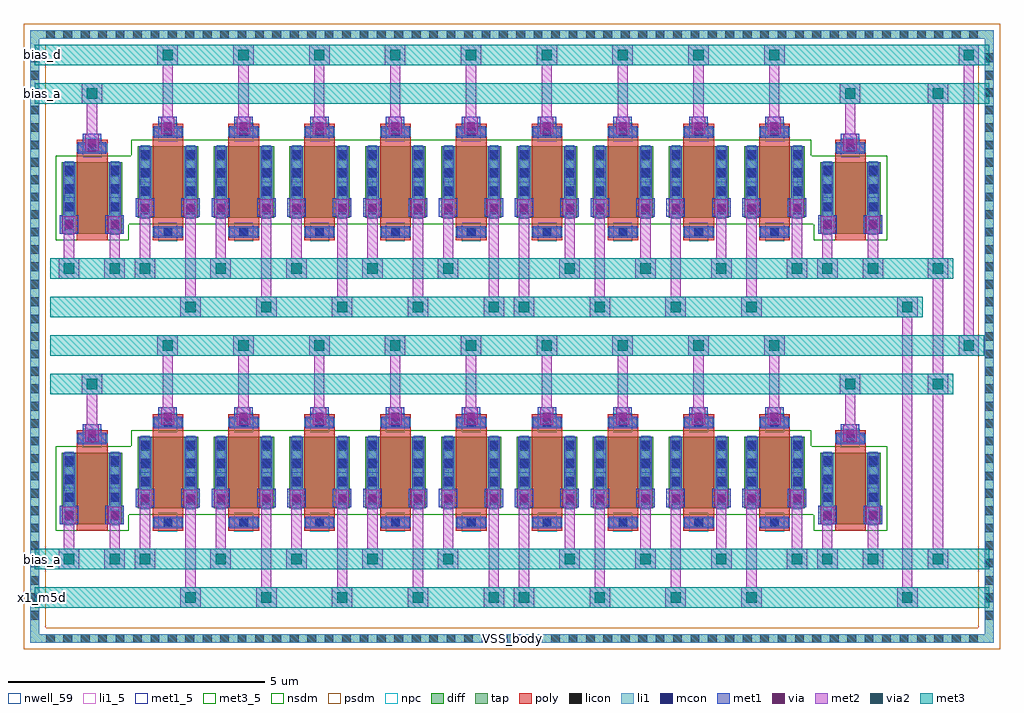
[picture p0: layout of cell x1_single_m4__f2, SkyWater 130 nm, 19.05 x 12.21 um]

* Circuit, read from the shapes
.subckt x1_single_m4__f2 VSS_body bias_a bias_d x1_m5d
XM1 bias_a bias_a bias_a VSS_body sky130_fd_pr__nfet_01v8 w=1.4 l=0.6 m=4
XM2 x1_m5d bias_d bias_a VSS_body sky130_fd_pr__nfet_01v8 w=1.4 l=0.6 m=18
.ends

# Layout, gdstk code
from math import pi, radians
import gdstk
lib = gdstk.Library(unit=1e-6, precision=1e-09)
def R(c, l, rs):  # rectangles x0, y0, x1, y1
    for r in rs: c.add(gdstk.rectangle(r[:2], r[2:], *l))
def A(c, l, x, y, w, h, nx, ny, dx, dy):  # array of equal rectangles
    R(c, l, [(x+i*dx, y+j*dy, x+i*dx+w, y+j*dy+h) for i in range(nx) for j in range(ny)])
nwell_59 = (64, 59)
diff = (65, 20)
tap = (65, 44)
poly = (66, 20)
licon = (66, 44)
li1_5 = (67, 5)
li1 = (67, 20)
mcon = (67, 44)
met1_5 = (68, 5)
met1 = (68, 20)
via = (68, 44)
met2 = (69, 20)
via2 = (69, 44)
met3_5 = (70, 5)
met3 = (70, 20)
nsdm = (93, 44)
psdm = (94, 20)
npc = (95, 20)

sky130_fd_pr__nfet_01v8_ = lib.new_cell('sky130_fd_pr__nfet_01v8_RUA5M6')
R(sky130_fd_pr__nfet_01v8_, diff, [(-0.59,-0.855,0.59,0.545)])
R(sky130_fd_pr__nfet_01v8_, poly, [(-0.3,-0.985,0.3,0.985)])
A(sky130_fd_pr__nfet_01v8_, licon, -0.53, -0.75, 0.17, 0.17, 1, 4, 0, 0.34)
A(sky130_fd_pr__nfet_01v8_, licon, 0.36, -0.75, 0.17, 0.17, 1, 4, 0, 0.34)
R(sky130_fd_pr__nfet_01v8_, licon, [(-0.085,0.735,0.085,0.905)])
R(sky130_fd_pr__nfet_01v8_, li1, [(-0.53,-0.875,-0.36,0.565), (0.36,-0.875,0.53,0.565), (-0.3,0.735,0.3,0.905)])
A(sky130_fd_pr__nfet_01v8_, mcon, -0.53, -0.78, 0.17, 0.17, 1, 4, 0, 0.36)
A(sky130_fd_pr__nfet_01v8_, mcon, 0.36, -0.78, 0.17, 0.17, 1, 4, 0, 0.36)
R(sky130_fd_pr__nfet_01v8_, mcon, [(-0.085,0.735,0.085,0.905)])
R(sky130_fd_pr__nfet_01v8_, met1, [(-0.56,-0.855,-0.33,0.545), (0.33,-0.855,0.56,0.545), (-0.28,0.705,0.28,0.935)])
R(sky130_fd_pr__nfet_01v8_, nsdm, [(-0.715,-0.98,0.715,0.67)])
R(sky130_fd_pr__nfet_01v8_, npc, [(-0.185,0.635,0.185,1.005)])
sky130_fd_pr__nfet_01v8_.add(gdstk.Label('D', (-0.445,-0.155), layer=67, texttype=5))
sky130_fd_pr__nfet_01v8_.add(gdstk.Label('S', (0.445,-0.155), layer=67, texttype=5))
sky130_fd_pr__nfet_01v8_.add(gdstk.Label('G', (0,0.82), layer=67, texttype=5))

nfet_01v8_w1p4_l0p6_m4__ = lib.new_cell('nfet_01v8_W1p4_L0p6_m4__nf1_gtop_sdfull_ng')
R(nfet_01v8_w1p4_l0p6_m4__, nwell_59, [(0.05,0.78,0.15,0.88)])
R(nfet_01v8_w1p4_l0p6_m4__, met1_5, [(0.03,0.83,0.26,1.03), (0.92,0.83,1.15,1.03), (0.31,1.69,0.87,1.92)])
R(nfet_01v8_w1p4_l0p6_m4__, met1, [(0.03,0.83,0.26,1.03), (0.92,0.83,1.15,1.03), (0.31,1.69,0.87,1.92)])
nfet_01v8_w1p4_l0p6_m4__.add(gdstk.Reference(sky130_fd_pr__nfet_01v8_, (0.59,0.985)))
nfet_01v8_w1p4_l0p6_m4__.add(gdstk.Label('D', (0.145,0.93), layer=68, texttype=5))
nfet_01v8_w1p4_l0p6_m4__.add(gdstk.Label('S', (1.035,0.93), layer=68, texttype=5))
nfet_01v8_w1p4_l0p6_m4__.add(gdstk.Label('G', (0.59,1.805), layer=68, texttype=5))
nfet_01v8_w1p4_l0p6_m4__.add(gdstk.Label('B', (0.1,0.83), layer=64, texttype=59))

c_sky130_fd_pr__nfet_01v8_ = lib.new_cell('sky130_fd_pr__nfet_01v8_KCM6UP')
R(c_sky130_fd_pr__nfet_01v8_, diff, [(-0.59,-0.7,0.59,0.7)])
R(c_sky130_fd_pr__nfet_01v8_, poly, [(-0.3,-1.14,0.3,1.14)])
A(c_sky130_fd_pr__nfet_01v8_, licon, -0.53, -0.595, 0.17, 0.17, 1, 4, 0, 0.34)
A(c_sky130_fd_pr__nfet_01v8_, licon, 0.36, -0.595, 0.17, 0.17, 1, 4, 0, 0.34)
R(c_sky130_fd_pr__nfet_01v8_, licon, [(-0.085,-1.06,0.085,-0.89), (-0.085,0.89,0.085,1.06)])
R(c_sky130_fd_pr__nfet_01v8_, li1, [(-0.3,-1.06,0.3,-0.89), (-0.53,-0.72,-0.36,0.72), (0.36,-0.72,0.53,0.72), (-0.3,0.89,0.3,1.06)])
A(c_sky130_fd_pr__nfet_01v8_, mcon, -0.53, -0.625, 0.17, 0.17, 1, 4, 0, 0.36)
A(c_sky130_fd_pr__nfet_01v8_, mcon, 0.36, -0.625, 0.17, 0.17, 1, 4, 0, 0.36)
R(c_sky130_fd_pr__nfet_01v8_, mcon, [(-0.085,-1.06,0.085,-0.89), (-0.085,0.89,0.085,1.06)])
R(c_sky130_fd_pr__nfet_01v8_, met1, [(-0.28,-1.09,0.28,-0.86), (-0.56,-0.7,-0.33,0.7), (0.33,-0.7,0.56,0.7), (-0.28,0.86,0.28,1.09)])
R(c_sky130_fd_pr__nfet_01v8_, nsdm, [(-0.715,-0.825,0.715,0.825)])
R(c_sky130_fd_pr__nfet_01v8_, npc, [(-0.185,-1.16,0.185,-0.79), (-0.185,0.79,0.185,1.16)])
c_sky130_fd_pr__nfet_01v8_.add(gdstk.Label('D', (-0.445,0), layer=67, texttype=5))
c_sky130_fd_pr__nfet_01v8_.add(gdstk.Label('S', (0.445,0), layer=67, texttype=5))
c_sky130_fd_pr__nfet_01v8_.add(gdstk.Label('G', (0,0.975), layer=67, texttype=5))

nfet_01v8_w1p4_l0p6_m18_ = lib.new_cell('nfet_01v8_W1p4_L0p6_m18__nf1_gboth_sdfull_ng')
R(nfet_01v8_w1p4_l0p6_m18_, nwell_59, [(0.05,1.09,0.15,1.19)])
R(nfet_01v8_w1p4_l0p6_m18_, met1_5, [(0.03,1.14,0.26,1.34), (0.92,1.14,1.15,1.34), (0.31,2,0.87,2.23)])
R(nfet_01v8_w1p4_l0p6_m18_, met1, [(0.03,1.14,0.26,1.34), (0.92,1.14,1.15,1.34), (0.31,2,0.87,2.23)])
nfet_01v8_w1p4_l0p6_m18_.add(gdstk.Reference(c_sky130_fd_pr__nfet_01v8_, (0.59,1.14)))
nfet_01v8_w1p4_l0p6_m18_.add(gdstk.Label('D', (0.145,1.24), layer=68, texttype=5))
nfet_01v8_w1p4_l0p6_m18_.add(gdstk.Label('S', (1.035,1.24), layer=68, texttype=5))
nfet_01v8_w1p4_l0p6_m18_.add(gdstk.Label('G', (0.59,2.115), layer=68, texttype=5))
nfet_01v8_w1p4_l0p6_m18_.add(gdstk.Label('B', (0.1,1.14), layer=64, texttype=59))

x1_single_m4__f2 = lib.new_cell('x1_single_m4__f2')
R(x1_single_m4__f2, tap, [(-0.485,-2.185,18.315,-2.015), (-0.485,-2.015,-0.315,9.605), (18.145,-2.015,18.315,9.605), (-0.485,9.605,18.315,9.775)])
A(x1_single_m4__f2, licon, -0.18, -2.185, 0.17, 0.17, 54, 2, 0.34, 11.79)
A(x1_single_m4__f2, licon, -0.485, -1.73, 0.17, 0.17, 1, 33, 0, 0.34)
A(x1_single_m4__f2, licon, 18.145, -1.73, 0.17, 0.17, 1, 33, 0, 0.34)
R(x1_single_m4__f2, li1_5, [(8.865,-2.15,8.965,-2.05)])
R(x1_single_m4__f2, li1, [(-0.485,-2.185,18.315,-2.015), (-0.485,-2.015,-0.315,9.605), (18.145,-2.015,18.315,9.605), (-0.485,9.605,18.315,9.775)])
A(x1_single_m4__f2, met1, 2.015, 2.05, 0.36, 0.36, 9, 2, 1.48, 5.67)
R(x1_single_m4__f2, met1, [(0.09,0.13,0.45,0.49), (0.98,0.13,1.34,0.49), (14.89,0.13,15.25,0.49), (15.78,0.13,16.14,0.49), (1.57,0.46,1.93,0.82), (2.46,0.46,2.82,0.82), (3.05,0.46,3.41,0.82), (3.94,0.46,4.3,0.82), (4.53,0.46,4.89,0.82), (5.42,0.46,5.78,0.82), (6.01,0.46,6.37,0.82), (6.9,0.46,7.26,0.82), (7.49,0.46,7.85,0.82), (8.38,0.46,8.74,0.82), (8.97,0.46,9.33,0.82), (9.86,0.46,10.22,0.82), (10.45,0.46,10.81,0.82), (11.34,0.46,11.7,0.82), (11.93,0.46,12.29,0.82), (12.82,0.46,13.18,0.82), (13.41,0.46,13.77,0.82), (14.3,0.46,14.66,0.82), (0.535,1.72,0.895,2.08), (15.335,1.72,15.695,2.08), (0.09,5.8,0.45,6.16), (0.98,5.8,1.34,6.16), (14.89,5.8,15.25,6.16), (15.78,5.8,16.14,6.16), (1.57,6.13,1.93,6.49), (2.46,6.13,2.82,6.49), (3.05,6.13,3.41,6.49), (3.94,6.13,4.3,6.49), (4.53,6.13,4.89,6.49), (5.42,6.13,5.78,6.49), (6.01,6.13,6.37,6.49), (6.9,6.13,7.26,6.49), (7.49,6.13,7.85,6.49), (8.38,6.13,8.74,6.49), (8.97,6.13,9.33,6.49), (9.86,6.13,10.22,6.49), (10.45,6.13,10.81,6.49), (11.34,6.13,11.7,6.49), (11.93,6.13,12.29,6.49), (12.82,6.13,13.18,6.49), (13.41,6.13,13.77,6.49), (14.3,6.13,14.66,6.49), (0.535,7.39,0.895,7.75), (15.335,7.39,15.695,7.75)])
A(x1_single_m4__f2, via, 2.12, 2.155, 0.15, 0.15, 9, 2, 1.48, 5.67)
R(x1_single_m4__f2, via, [(0.195,0.235,0.345,0.385), (1.085,0.235,1.235,0.385), (14.995,0.235,15.145,0.385), (15.885,0.235,16.035,0.385), (1.675,0.565,1.825,0.715), (2.565,0.565,2.715,0.715), (3.155,0.565,3.305,0.715), (4.045,0.565,4.195,0.715), (4.635,0.565,4.785,0.715), (5.525,0.565,5.675,0.715), (6.115,0.565,6.265,0.715), (7.005,0.565,7.155,0.715), (7.595,0.565,7.745,0.715), (8.485,0.565,8.635,0.715), (9.075,0.565,9.225,0.715), (9.965,0.565,10.115,0.715), (10.555,0.565,10.705,0.715), (11.445,0.565,11.595,0.715), (12.035,0.565,12.185,0.715), (12.925,0.565,13.075,0.715), (13.515,0.565,13.665,0.715), (14.405,0.565,14.555,0.715), (0.64,1.825,0.79,1.975), (15.44,1.825,15.59,1.975), (0.195,5.905,0.345,6.055), (1.085,5.905,1.235,6.055), (14.995,5.905,15.145,6.055), (15.885,5.905,16.035,6.055), (1.675,6.235,1.825,6.385), (2.565,6.235,2.715,6.385), (3.155,6.235,3.305,6.385), (4.045,6.235,4.195,6.385), (4.635,6.235,4.785,6.385), (5.525,6.235,5.675,6.385), (6.115,6.235,6.265,6.385), (7.005,6.235,7.155,6.385), (7.595,6.235,7.745,6.385), (8.485,6.235,8.635,6.385), (9.075,6.235,9.225,6.385), (9.965,6.235,10.115,6.385), (10.555,6.235,10.705,6.385), (11.445,6.235,11.595,6.385), (12.035,6.235,12.185,6.385), (12.925,6.235,13.075,6.385), (13.515,6.235,13.665,6.385), (14.405,6.235,14.555,6.385), (0.64,7.495,0.79,7.645), (15.44,7.495,15.59,7.645)])
A(x1_single_m4__f2, met2, 2.44, -1.5, 0.4, 0.4, 5, 2, 1.48, 5.67)
A(x1_single_m4__f2, met2, 8.95, -1.5, 0.4, 0.4, 4, 2, 1.48, 5.67)
A(x1_single_m4__f2, met2, 2.54, -1.1, 0.2, 1.58, 5, 2, 1.48, 5.67)
A(x1_single_m4__f2, met2, 9.05, -1.1, 0.2, 1.58, 4, 2, 1.48, 5.67)
A(x1_single_m4__f2, met2, 1.55, -0.75, 0.4, 0.4, 5, 2, 1.48, 5.67)
A(x1_single_m4__f2, met2, 9.84, -0.75, 0.4, 0.4, 4, 2, 1.48, 5.67)
A(x1_single_m4__f2, met2, 1.65, -0.35, 0.2, 0.83, 5, 2, 1.48, 5.67)
A(x1_single_m4__f2, met2, 9.94, -0.35, 0.2, 0.83, 4, 2, 1.48, 5.67)
A(x1_single_m4__f2, met2, 2.065, 2.07, 0.26, 0.32, 9, 2, 1.48, 5.67)
A(x1_single_m4__f2, met2, 2.095, 2.39, 0.2, 1.03, 9, 2, 1.48, 5.67)
A(x1_single_m4__f2, met2, 1.995, 3.42, 0.4, 0.4, 9, 2, 1.48, 5.67)
R(x1_single_m4__f2, met2, [(16.43,-1.5,16.83,-1.1), (16.53,-1.1,16.73,4.17), (0.07,-0.75,0.47,-0.35), (0.96,-0.75,1.36,-0.35), (14.87,-0.75,15.27,-0.35), (15.76,-0.75,16.16,-0.35), (17.03,-0.75,17.43,-0.35), (0.17,-0.35,0.37,0.15), (1.06,-0.35,1.26,0.15), (14.97,-0.35,15.17,0.15), (15.86,-0.35,16.06,0.15), (17.13,-0.35,17.33,2.67), (0.14,0.15,0.4,0.47), (1.03,0.15,1.29,0.47), (14.94,0.15,15.2,0.47), (15.83,0.15,16.09,0.47), (1.62,0.48,1.88,0.8), (2.51,0.48,2.77,0.8), (3.1,0.48,3.36,0.8), (3.99,0.48,4.25,0.8), (4.58,0.48,4.84,0.8), (5.47,0.48,5.73,0.8), (6.06,0.48,6.32,0.8), (6.95,0.48,7.21,0.8), (7.54,0.48,7.8,0.8), (8.43,0.48,8.69,0.8), (9.02,0.48,9.28,0.8), (9.91,0.48,10.17,0.8), (10.5,0.48,10.76,0.8), (11.39,0.48,11.65,0.8), (11.98,0.48,12.24,0.8), (12.87,0.48,13.13,0.8), (13.46,0.48,13.72,0.8), (14.35,0.48,14.61,0.8), (0.585,1.74,0.845,2.06), (15.385,1.74,15.645,2.06), (0.615,2.06,0.815,2.67), (15.415,2.06,15.615,2.67), (0.515,2.67,0.915,3.07), (15.315,2.67,15.715,3.07), (17.03,2.67,17.43,3.07), (17.13,3.07,17.33,4.92), (17.63,3.42,18.03,3.82), (17.73,3.82,17.93,9.09), (16.43,4.17,16.83,4.57), (0.07,4.92,0.47,5.32), (0.96,4.92,1.36,5.32), (14.87,4.92,15.27,5.32), (15.76,4.92,16.16,5.32), (17.03,4.92,17.43,5.32), (0.17,5.32,0.37,5.82), (1.06,5.32,1.26,5.82), (14.97,5.32,15.17,5.82), (15.86,5.32,16.06,5.82), (17.13,5.32,17.33,8.34), (0.14,5.82,0.4,6.14), (1.03,5.82,1.29,6.14), (14.94,5.82,15.2,6.14), (15.83,5.82,16.09,6.14), (1.62,6.15,1.88,6.47), (2.51,6.15,2.77,6.47), (3.1,6.15,3.36,6.47), (3.99,6.15,4.25,6.47), (4.58,6.15,4.84,6.47), (5.47,6.15,5.73,6.47), (6.06,6.15,6.32,6.47), (6.95,6.15,7.21,6.47), (7.54,6.15,7.8,6.47), (8.43,6.15,8.69,6.47), (9.02,6.15,9.28,6.47), (9.91,6.15,10.17,6.47), (10.5,6.15,10.76,6.47), (11.39,6.15,11.65,6.47), (11.98,6.15,12.24,6.47), (12.87,6.15,13.13,6.47), (13.46,6.15,13.72,6.47), (14.35,6.15,14.61,6.47), (0.585,7.41,0.845,7.73), (15.385,7.41,15.645,7.73), (0.615,7.73,0.815,8.34), (15.415,7.73,15.615,8.34), (0.515,8.34,0.915,8.74), (15.315,8.34,15.715,8.74), (17.03,8.34,17.43,8.74), (17.63,9.09,18.03,9.49)])
A(x1_single_m4__f2, via2, 2.54, -1.4, 0.2, 0.2, 5, 2, 1.48, 5.67)
A(x1_single_m4__f2, via2, 9.05, -1.4, 0.2, 0.2, 4, 2, 1.48, 5.67)
A(x1_single_m4__f2, via2, 1.65, -0.65, 0.2, 0.2, 5, 2, 1.48, 5.67)
A(x1_single_m4__f2, via2, 9.94, -0.65, 0.2, 0.2, 4, 2, 1.48, 5.67)
A(x1_single_m4__f2, via2, 2.095, 3.52, 0.2, 0.2, 9, 2, 1.48, 5.67)
R(x1_single_m4__f2, via2, [(16.53,-1.4,16.73,-1.2), (0.17,-0.65,0.37,-0.45), (1.06,-0.65,1.26,-0.45), (14.97,-0.65,15.17,-0.45), (15.86,-0.65,16.06,-0.45), (17.13,-0.65,17.33,-0.45), (0.615,2.77,0.815,2.97), (15.415,2.77,15.615,2.97), (17.13,2.77,17.33,2.97), (17.73,3.52,17.93,3.72), (16.53,4.27,16.73,4.47), (0.17,5.02,0.37,5.22), (1.06,5.02,1.26,5.22), (14.97,5.02,15.17,5.22), (15.86,5.02,16.06,5.22), (17.13,5.02,17.33,5.22), (0.615,8.44,0.815,8.64), (15.415,8.44,15.615,8.64), (17.13,8.44,17.33,8.64), (17.73,9.19,17.93,9.39)])
R(x1_single_m4__f2, met3_5, [(-0.3,-1.35,-0.2,-1.25), (-0.3,-0.6,-0.2,-0.5), (-0.3,8.49,-0.2,8.59), (-0.3,9.24,-0.2,9.34)])
R(x1_single_m4__f2, met3, [(-0.4,-1.5,18.23,-1.1), (-0.4,-0.75,18.23,-0.35), (-0.1,2.67,17.53,3.07), (-0.1,3.42,18.13,3.82), (-0.1,4.17,16.93,4.57), (-0.1,4.92,17.53,5.32), (-0.4,8.34,18.23,8.74), (-0.4,9.09,18.23,9.49)])
A(x1_single_m4__f2, nsdm, 2.915, 0.315, 0.05, 1.65, 8, 2, 1.48, 5.67)
R(x1_single_m4__f2, nsdm, [(1.435,0.315,1.485,1.655), (14.755,0.315,14.805,1.655), (1.435,5.985,1.485,7.325), (14.755,5.985,14.805,7.325)])
R(x1_single_m4__f2, psdm, [(-0.61,-2.31,18.44,-1.89), (-0.61,-1.89,-0.19,9.48), (18.02,-1.89,18.44,9.48), (-0.61,9.48,18.44,9.9)])
x1_single_m4__f2.add(gdstk.Reference(nfet_01v8_w1p4_l0p6_m4__, (14.93,5.67)))
x1_single_m4__f2.add(gdstk.Reference(nfet_01v8_w1p4_l0p6_m18_, (14.63,5.67), rotation=pi, x_reflection=True))
x1_single_m4__f2.add(gdstk.Reference(nfet_01v8_w1p4_l0p6_m18_, (13.15,5.67), rotation=pi, x_reflection=True))
x1_single_m4__f2.add(gdstk.Reference(nfet_01v8_w1p4_l0p6_m18_, (11.67,5.67), rotation=pi, x_reflection=True))
x1_single_m4__f2.add(gdstk.Reference(nfet_01v8_w1p4_l0p6_m18_, (10.19,5.67), rotation=pi, x_reflection=True))
x1_single_m4__f2.add(gdstk.Reference(nfet_01v8_w1p4_l0p6_m18_, (7.53,5.67)))
x1_single_m4__f2.add(gdstk.Reference(nfet_01v8_w1p4_l0p6_m18_, (6.05,5.67)))
x1_single_m4__f2.add(gdstk.Reference(nfet_01v8_w1p4_l0p6_m18_, (4.57,5.67)))
x1_single_m4__f2.add(gdstk.Reference(nfet_01v8_w1p4_l0p6_m18_, (3.09,5.67)))
x1_single_m4__f2.add(gdstk.Reference(nfet_01v8_w1p4_l0p6_m18_, (1.61,5.67)))
x1_single_m4__f2.add(gdstk.Reference(nfet_01v8_w1p4_l0p6_m4__, (0.13,5.67)))
x1_single_m4__f2.add(gdstk.Reference(nfet_01v8_w1p4_l0p6_m4__, (14.93,0)))
x1_single_m4__f2.add(gdstk.Reference(nfet_01v8_w1p4_l0p6_m18_, (14.63,0), rotation=pi, x_reflection=True))
x1_single_m4__f2.add(gdstk.Reference(nfet_01v8_w1p4_l0p6_m18_, (13.15,0), rotation=pi, x_reflection=True))
x1_single_m4__f2.add(gdstk.Reference(nfet_01v8_w1p4_l0p6_m18_, (11.67,0), rotation=pi, x_reflection=True))
x1_single_m4__f2.add(gdstk.Reference(nfet_01v8_w1p4_l0p6_m18_, (10.19,0), rotation=pi, x_reflection=True))
x1_single_m4__f2.add(gdstk.Reference(nfet_01v8_w1p4_l0p6_m18_, (7.53,0)))
x1_single_m4__f2.add(gdstk.Reference(nfet_01v8_w1p4_l0p6_m18_, (6.05,0)))
x1_single_m4__f2.add(gdstk.Reference(nfet_01v8_w1p4_l0p6_m18_, (4.57,0)))
x1_single_m4__f2.add(gdstk.Reference(nfet_01v8_w1p4_l0p6_m18_, (3.09,0)))
x1_single_m4__f2.add(gdstk.Reference(nfet_01v8_w1p4_l0p6_m18_, (1.61,0)))
x1_single_m4__f2.add(gdstk.Reference(nfet_01v8_w1p4_l0p6_m4__, (0.13,0)))
x1_single_m4__f2.add(gdstk.Label('bias_a', (-0.25,8.54), layer=70, texttype=5))
x1_single_m4__f2.add(gdstk.Label('bias_d', (-0.25,9.29), layer=70, texttype=5))
x1_single_m4__f2.add(gdstk.Label('bias_a', (-0.25,-0.55), layer=70, texttype=5))
x1_single_m4__f2.add(gdstk.Label('x1_m5d', (-0.25,-1.3), layer=70, texttype=5))
x1_single_m4__f2.add(gdstk.Label('VSS_body', (8.915,-2.1), layer=67, texttype=5))

lib.write_gds('x1_single_m4__f2.gds')
